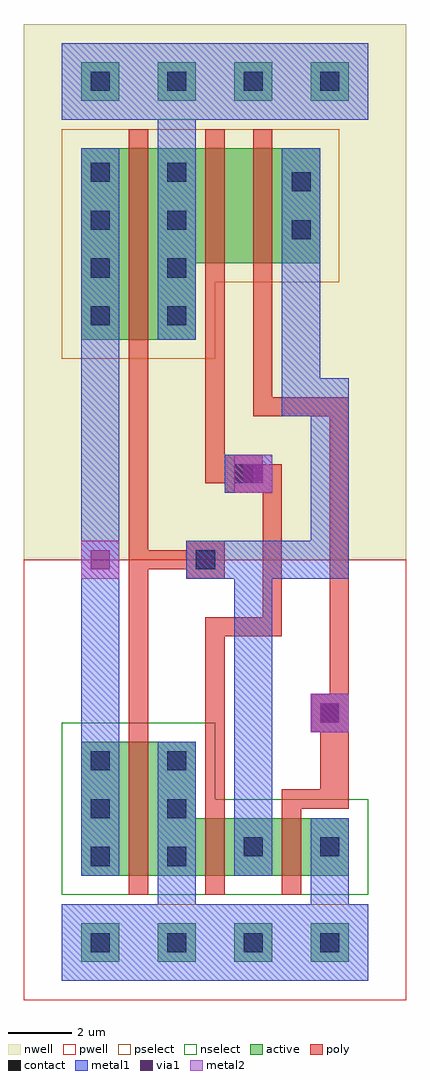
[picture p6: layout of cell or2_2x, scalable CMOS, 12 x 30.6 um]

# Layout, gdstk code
import gdstk
lib = gdstk.Library(unit=1e-6, precision=1e-09)
def R(c, l, rs):  # rectangles x0, y0, x1, y1
    for r in rs: c.add(gdstk.rectangle(r[:2], r[2:], *l))
def A(c, l, x, y, w, h, nx, ny, dx, dy):  # array of equal rectangles
    R(c, l, [(x+i*dx, y+j*dy, x+i*dx+w, y+j*dy+h) for i in range(nx) for j in range(ny)])
contact = (25, 0)
pwell = (41, 0)
nwell = (42, 0)
active = (43, 0)
pselect = (44, 0)
nselect = (45, 0)
poly = (46, 0)
metal1 = (49, 0)
via1 = (50, 0)
metal2 = (51, 0)

or2_2x = lib.new_cell('or2_2x')
A(or2_2x, contact, 0.3, -0.3, 0.6, 0.6, 4, 2, 2.4, 27)
A(or2_2x, contact, 0.3, 2.4, 0.6, 0.6, 1, 3, 0, 1.5)
A(or2_2x, contact, 2.7, 2.4, 0.6, 0.6, 1, 3, 0, 1.5)
A(or2_2x, contact, 0.3, 19.35, 0.6, 0.6, 1, 4, 0, 1.5)
A(or2_2x, contact, 2.7, 19.35, 0.6, 0.6, 1, 4, 0, 1.5)
R(or2_2x, contact, [(5.1,2.7,5.7,3.3), (7.5,2.7,8.1,3.3), (7.5,6.9,8.1,7.5), (3.6,11.7,4.2,12.3), (4.8,14.4,5.4,15), (6.6,22.05,7.2,22.65), (6.6,23.55,7.2,24.15)])
A(or2_2x, pwell, -0.9, -1.5, 3, 3, 4, 1, 2.4, 0)
R(or2_2x, pwell, [(-1.8,-1.8,10.2,12), (-1.8,0.3,3,8.1), (-1.2,0.3,4.8,8.1), (0.6,0.3,5.4,8.1), (1.2,0.3,7.2,5.7), (3,0.3,7.8,5.7), (3.6,0.3,9.6,5.7), (5.4,0.3,10.2,5.7), (3.15,0.45,7.725,4.95), (0.75,0.75,5.325,5.25), (3.075,0.75,7.65,5.25), (5.475,1.05,10.05,5.55), (0.675,2.85,5.25,7.35), (-1.65,3.45,2.925,7.95)])
A(or2_2x, nwell, -0.9, 25.5, 3, 3, 4, 1, 2.4, 0)
R(or2_2x, nwell, [(-1.8,12,10.2,28.8), (-1.8,17.1,3,26.7), (-1.2,17.1,4.8,26.7), (0.6,17.1,5.4,26.7), (0.675,17.25,5.25,21.75), (-1.65,17.85,2.925,22.35), (1.2,19.5,7.2,26.7), (2.7,19.5,8.7,26.7), (4.5,19.5,9.3,26.7), (0.75,19.59,5.325,24.09), (4.575,19.65,9.15,24.15), (2.25,20.4,7.65,24.9)])
A(or2_2x, active, 0, -0.6, 1.2, 1.2, 4, 2, 2.4, 27)
R(or2_2x, active, [(0,2.1,1.2,6.3), (0.6,2.1,3,6.3), (2.4,2.1,3.6,6.3), (3,2.1,5.4,3.9), (4.8,2.1,6,3.9), (5.4,2.1,7.8,3.9), (7.2,2.1,8.4,3.9), (4.95,2.25,5.925,3.15), (2.55,2.55,3.525,3.45), (4.875,2.55,5.85,3.45), (7.275,2.85,8.25,3.75), (2.475,4.65,3.45,5.55), (0.15,5.25,1.125,6.15), (0,18.9,1.2,24.9), (0.6,18.9,3,24.9), (2.4,18.9,3.6,24.9), (2.475,19.05,3.45,19.95), (0.15,19.65,1.125,20.55), (3,21.3,5.4,24.9), (4.5,21.3,6.9,24.9), (6.3,21.3,7.5,24.9), (2.55,21.39,3.525,22.29), (6.375,21.45,7.35,22.35), (4.05,22.2,5.85,23.1)])
A(or2_2x, pselect, -0.6, -1.2, 2.4, 2.4, 4, 1, 2.4, 0)
R(or2_2x, pselect, [(-0.6,18.3,1.8,25.5), (0,18.3,3.6,25.5), (1.8,18.3,4.2,25.5), (1.875,18.45,4.05,20.55), (-0.45,19.05,1.725,21.15), (2.4,20.7,6,25.5), (3.9,20.7,7.5,25.5), (5.7,20.7,8.1,25.5), (1.95,20.79,4.125,22.89), (5.775,20.85,7.95,22.95), (3.45,21.6,6.45,23.7)])
A(or2_2x, nselect, -0.6, 25.8, 2.4, 2.4, 4, 1, 2.4, 0)
R(or2_2x, nselect, [(-0.6,1.5,1.8,6.9), (0,1.5,3.6,6.9), (1.8,1.5,4.2,6.9), (2.4,1.5,6,4.5), (4.2,1.5,6.6,4.5), (4.8,1.5,8.4,4.5), (6.6,1.5,9,4.5), (4.35,1.65,6.525,3.75), (1.95,1.95,4.125,4.05), (4.275,1.95,6.45,4.05), (6.675,2.25,8.85,4.35), (1.875,4.05,4.05,6.15), (-0.45,4.65,1.725,6.75)])
R(or2_2x, poly, [(1.5,1.5,2.1,6.9), (3.9,1.5,4.5,4.5), (6.3,1.5,6.9,4.5), (3.9,4.2,4.5,10.2), (6.3,4.2,8.4,4.8), (7.5,4.2,8.1,7.5), (7.5,4.2,8.4,4.8), (7.8,4.2,8.4,17.1), (1.5,6.6,2.1,12.3), (7.2,6.6,8.4,7.8), (3.9,9.6,6.3,10.2), (5.7,9.6,6.3,15), (3.3,11.4,4.5,12.6), (1.5,11.7,2.1,18.6), (1.5,11.7,4.2,12.3), (4.5,14.1,5.7,15.3), (3.9,14.4,4.5,21), (3.9,14.4,5.4,15), (3.9,14.4,6.3,15), (4.8,14.4,6.3,15), (5.4,16.5,8.4,17.1), (5.4,16.5,6,21), (1.5,18.3,2.1,25.5), (3.9,20.7,4.5,25.5), (5.4,20.7,6,25.5)])
A(or2_2x, metal1, -0.6, -1.2, 4.8, 2.4, 3, 1, 2.4, 0)
A(or2_2x, metal1, 0, -0.6, 1.2, 1.2, 4, 2, 2.4, 27)
R(or2_2x, metal1, [(-0.6,-1.2,1.8,1.2), (-0.6,-1.2,4.2,1.2), (2.4,-0.6,3.6,3.3), (7.2,-0.6,8.4,3.3), (0,2.1,1.2,6.3), (2.4,2.1,3.6,6.3), (4.8,2.1,6,3.9), (7.2,2.1,8.4,3.9), (4.8,2.7,6,12.6), (0,5.1,1.2,12.6), (7.2,6.6,8.4,7.8), (7.2,6.6,8.4,7.8), (7.2,6.6,8.4,7.8), (0,11.4,1.2,12.6), (0,11.4,1.2,20.625), (3.3,11.4,4.5,12.6), (3.3,11.4,6,12.6), (4.8,11.4,8.4,12.6), (7.2,11.4,8.4,17.7), (4.5,14.1,5.7,15.3), (4.5,14.1,6,15.3), (4.8,14.1,6,15.3), (6.3,16.5,7.5,22.5), (6.3,16.5,8.4,17.7), (0,18.9,1.2,24.9), (2.4,18.9,3.6,24.9), (6.3,21.3,7.5,24.9), (2.4,23.7,3.6,27.6), (-0.6,25.8,1.8,28.2), (-0.6,25.8,4.2,28.2), (1.8,25.8,9,28.2), (0,26.4,1.2,27.6), (4.8,26.4,8.4,27.6), (7.2,26.4,8.4,27.6)])
R(or2_2x, via1, [(7.5,6.9,8.1,7.5), (0.3,11.7,0.9,12.3), (5.1,14.4,5.7,15)])
R(or2_2x, metal2, [(7.2,6.6,8.4,7.8), (0,11.4,1.2,12.6), (4.8,14.1,6,15.3)])

lib.write_gds('or2_2x.gds')
